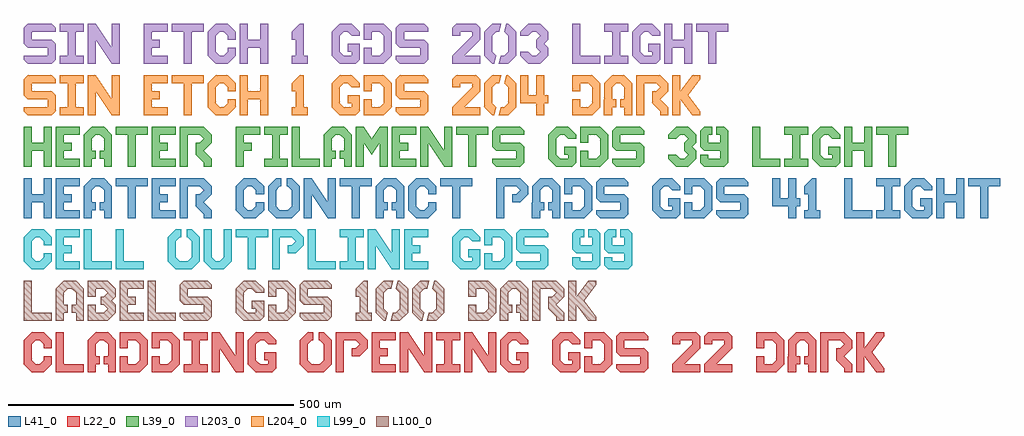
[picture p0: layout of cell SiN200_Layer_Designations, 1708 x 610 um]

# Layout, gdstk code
import gdstk
lib = gdstk.Library(unit=1e-6, precision=1e-09)
def P(c, l, *ps):  # polygons
    for p in ps: c.add(gdstk.Polygon(p, *l))
L22_0 = (22, 0)
L39_0 = (39, 0)
L41_0 = (41, 0)
L99_0 = (99, 0)
L100_0 = (100, 0)
L203_0 = (203, 0)
L204_0 = (204, 0)

sin200_layer_designation = lib.new_cell('SiN200_Layer_Designations')
P(sin200_layer_designation, L22_0, [(14,0),(0,14),(0,56),(14,70),(35,70),(49,56),(49,42),(35,42),(35,49),(28,56),(21,56),(14,49),(14,21),(21,14),(28,14),(35,21),(35,28),(49,28),(49,14),(35,0)],
  [(56,0),(56,70),(70,70),(70,14),(105,14),(105,0)],
  [(111.93,0),(112,56),(126,70),(147.07,70),(161,56),(161,0),(147.07,0),(147.07,14),(140,14),(140,28),(147.07,28),(147.07,49),(140,56),(133,56),(126,49),(126,28),(133,28),(133,14),(126,14),(126,0)],
  [(168,0),(168,28),(182,28),(182,14),(196,14),(203,21),(203,49),(196,56),(182,56),(182,42),(168,42),(168,70),(203,70),(217,56),(217,14),(203,0)],
  [(224,0),(224,28),(238,28),(238,14),(252,14),(259,21),(259,49),(252,56),(238,56),(238,42),(224,42),(224,70),(259,70),(273,56),(273,14),(259,0)],
  [(280,0),(280,14),(294,14),(294,56),(280,56),(280,70),(322,70),(322,56),(308,56),(308,14),(322,14),(322,0)],
  [(329,0),(329,70),(343,70),(371,28),(371,70),(385,70),(385,0),(371,0),(343,42),(343,0)],
  [(406,0),(392,14),(392,56),(406,70),(427,70),(441,56),(441,49),(427,49),(420,56),(413,56),(406,49),(406,21),(413,14),(427,14),(427,21),(420,21),(420,35),(441,35),(441,7),(434,0)],
  [(497,0),(483,14),(483,56),(497,70),(506.1,70),(506.1,56),(504,56),(497,49),(497,21),(504,14),(518,14),(525,21),(525,49),(518,56),(515.9,56),(515.9,70),(525,70),(539,56),(539,14),(525,0)],
  [(546,0),(546,70),(588,70),(602,56),(602,42),(588,28),(574,28),(574,42),(581,42),(588,49),(581,56),(560,56),(560,0)],
  [(609,0),(609,70),(651,70),(651,56),(623,56),(623,42),(637,42),(637,28),(623,28),(623,14),(651,14),(651,0)],
  [(658,0),(658,70),(672,70),(700,28),(700,70),(714,70),(714,0),(700,0),(672,42),(672,0)],
  [(721,0),(721,14),(735,14),(735,56),(721,56),(721,70),(763,70),(763,56),(749,56),(749,14),(763,14),(763,0)],
  [(770,0),(770,70),(784,70),(812,28),(812,70),(826,70),(826,0),(812,0),(784,42),(784,0)],
  [(847,0),(833,14),(833,56),(847,70),(868,70),(882,56),(882,49),(868,49),(861,56),(854,56),(847,49),(847,21),(854,14),(868,14),(868,21),(861,21),(861,35),(882,35),(882,7),(875,0)],
  [(938,0),(924,14),(924,56),(938,70),(959,70),(973,56),(973,49),(959,49),(952,56),(945,56),(938,49),(938,21),(945,14),(959,14),(959,21),(952,21),(952,35),(973,35),(973,7),(966,0)],
  [(980,0),(980,28),(994,28),(994,14),(1008,14),(1015,21),(1015,49),(1008,56),(994,56),(994,42),(980,42),(980,70),(1015,70),(1029,56),(1029,14),(1015,0)],
  [(1043,0),(1036,7),(1036,14),(1078,14),(1078,28),(1043,28),(1036,35),(1036,63),(1043,70),(1085,70),(1092,63),(1092,56),(1050,56),(1050,42),(1085,42),(1092,35),(1092,7),(1085,0)],
  [(1134,0),(1134,14),(1169,49),(1169,56),(1148,56),(1148,49),(1134,49),(1134,63),(1141,70),(1176,70),(1183,63),(1183,42),(1155,14),(1183,14),(1183,0)],
  [(1190,0),(1190,14),(1225,49),(1225,56),(1204,56),(1204,49),(1190,49),(1190,63),(1197,70),(1232,70),(1239,63),(1239,42),(1211,14),(1239,14),(1239,0)],
  [(1281,0),(1281,28),(1295,28),(1295,14),(1309,14),(1316,21),(1316,49),(1309,56),(1295,56),(1295,42),(1281,42),(1281,70),(1316,70),(1330,56),(1330,14),(1316,0)],
  [(1336.93,0),(1337,56),(1351,70),(1372.07,70),(1386,56),(1386,0),(1372.07,0),(1372.07,14),(1365,14),(1365,28),(1372.07,28),(1372.07,49),(1365,56),(1358,56),(1351,49),(1351,28),(1358,28),(1358,14),(1351,14),(1351,0)],
  [(1393,0),(1393,70),(1435,70),(1449,56),(1449,42),(1435,28),(1449,14),(1449,0),(1435,0),(1435,7),(1421,21),(1421,42),(1428,42),(1435,49),(1428,56),(1407,56),(1407,0)],
  [(1456,0),(1456,70),(1470,70),(1470,42),(1491,70),(1505,70),(1505,63),(1484,35),(1505,7),(1505,0),(1491,0),(1470,28),(1470,0)])
P(sin200_layer_designation, L39_0, [(0,360),(0,430),(14,430),(14,402),(35,402),(35,430),(49,430),(49,360),(35,360),(35,388),(14,388),(14,360)],
  [(56,360),(56,430),(98,430),(98,416),(70,416),(70,402),(84,402),(84,388),(70,388),(70,374),(98,374),(98,360)],
  [(104.93,360),(105,416),(119,430),(140.07,430),(154,416),(154,360),(140.07,360),(140.07,374),(133,374),(133,388),(140.07,388),(140.07,409),(133,416),(126,416),(119,409),(119,388),(126,388),(126,374),(119,374),(119,360)],
  [(182,360),(182,416),(161,416),(161,430),(217,430),(217,416),(196,416),(196,360)],
  [(224,360),(224,430),(266,430),(266,416),(238,416),(238,402),(252,402),(252,388),(238,388),(238,374),(266,374),(266,360)],
  [(273,360),(273,430),(315,430),(329,416),(329,402),(315,388),(329,374),(329,360),(315,360),(315,367),(301,381),(301,402),(308,402),(315,409),(308,416),(287,416),(287,360)],
  [(371,360),(371,430),(413,430),(413,416),(385,416),(385,402),(399,402),(399,388),(385,388),(385,360)],
  [(420,360),(420,374),(434,374),(434,416),(420,416),(420,430),(462,430),(462,416),(448,416),(448,374),(462,374),(462,360)],
  [(469,360),(469,430),(483,430),(483,374),(518,374),(518,360)],
  [(524.93,360),(525,416),(539,430),(560.07,430),(574,416),(574,360),(560.07,360),(560.07,374),(553,374),(553,388),(560.07,388),(560.07,409),(553,416),(546,416),(539,409),(539,388),(546,388),(546,374),(539,374),(539,360)],
  [(581,360),(581,430),(595,430),(609,409),(623,430),(637,430),(637,360),(623,360),(623,402),(609,381),(595,402),(595,360)],
  [(644,360),(644,430),(686,430),(686,416),(658,416),(658,402),(672,402),(672,388),(658,388),(658,374),(686,374),(686,360)],
  [(693,360),(693,430),(707,430),(735,388),(735,430),(749,430),(749,360),(735,360),(707,402),(707,360)],
  [(777,360),(777,416),(756,416),(756,430),(812,430),(812,416),(791,416),(791,360)],
  [(826,360),(819,367),(819,374),(861,374),(861,388),(826,388),(819,395),(819,423),(826,430),(868,430),(875,423),(875,416),(833,416),(833,402),(868,402),(875,395),(875,367),(868,360)],
  [(931,360),(917,374),(917,416),(931,430),(952,430),(966,416),(966,409),(952,409),(945,416),(938,416),(931,409),(931,381),(938,374),(952,374),(952,381),(945,381),(945,395),(966,395),(966,367),(959,360)],
  [(973,360),(973,388),(987,388),(987,374),(1001,374),(1008,381),(1008,409),(1001,416),(987,416),(987,402),(973,402),(973,430),(1008,430),(1022,416),(1022,374),(1008,360)],
  [(1036,360),(1029,367),(1029,374),(1071,374),(1071,388),(1036,388),(1029,395),(1029,423),(1036,430),(1078,430),(1085,423),(1085,416),(1043,416),(1043,402),(1078,402),(1085,395),(1085,367),(1078,360)],
  [(1141,360),(1127,374),(1127,381),(1141,381),(1148,374),(1155,374),(1162,381),(1155,388),(1155,402),(1162,409),(1155,416),(1148,416),(1141,409),(1127,409),(1127,416),(1141,430),(1162,430),(1176,416),(1176,402),(1169,395),(1176,388),(1176,374),(1162,360)],
  [(1190,360),(1183,367),(1183,381),(1197,381),(1197,374),(1218,374),(1218,388),(1190,388),(1183,395),(1183,423),(1190,430),(1204,430),(1204,416),(1197,416),(1197,402),(1218,402),(1218,416),(1211,416),(1211,430),(1225,430),(1232,423),(1232,367),(1225,360)],
  [(1274,360),(1274,430),(1288,430),(1288,374),(1323,374),(1323,360)],
  [(1330,360),(1330,374),(1344,374),(1344,416),(1330,416),(1330,430),(1372,430),(1372,416),(1358,416),(1358,374),(1372,374),(1372,360)],
  [(1393,360),(1379,374),(1379,416),(1393,430),(1414,430),(1428,416),(1428,409),(1414,409),(1407,416),(1400,416),(1393,409),(1393,381),(1400,374),(1414,374),(1414,381),(1407,381),(1407,395),(1428,395),(1428,367),(1421,360)],
  [(1435,360),(1435,430),(1449,430),(1449,402),(1470,402),(1470,430),(1484,430),(1484,360),(1470,360),(1470,388),(1449,388),(1449,360)],
  [(1512,360),(1512,416),(1491,416),(1491,430),(1547,430),(1547,416),(1526,416),(1526,360)])
P(sin200_layer_designation, L41_0, [(0,270),(0,340),(14,340),(14,312),(35,312),(35,340),(49,340),(49,270),(35,270),(35,298),(14,298),(14,270)],
  [(56,270),(56,340),(98,340),(98,326),(70,326),(70,312),(84,312),(84,298),(70,298),(70,284),(98,284),(98,270)],
  [(104.93,270),(105,326),(119,340),(140.07,340),(154,326),(154,270),(140.07,270),(140.07,284),(133,284),(133,298),(140.07,298),(140.07,319),(133,326),(126,326),(119,319),(119,298),(126,298),(126,284),(119,284),(119,270)],
  [(182,270),(182,326),(161,326),(161,340),(217,340),(217,326),(196,326),(196,270)],
  [(224,270),(224,340),(266,340),(266,326),(238,326),(238,312),(252,312),(252,298),(238,298),(238,284),(266,284),(266,270)],
  [(273,270),(273,340),(315,340),(329,326),(329,312),(315,298),(329,284),(329,270),(315,270),(315,277),(301,291),(301,312),(308,312),(315,319),(308,326),(287,326),(287,270)],
  [(385,270),(371,284),(371,326),(385,340),(406,340),(420,326),(420,312),(406,312),(406,319),(399,326),(392,326),(385,319),(385,291),(392,284),(399,284),(406,291),(406,298),(420,298),(420,284),(406,270)],
  [(441,270),(427,284),(427,326),(441,340),(450.1,340),(450.1,326),(448,326),(441,319),(441,291),(448,284),(462,284),(469,291),(469,319),(462,326),(459.9,326),(459.9,340),(469,340),(483,326),(483,284),(469,270)],
  [(490,270),(490,340),(504,340),(532,298),(532,340),(546,340),(546,270),(532,270),(504,312),(504,270)],
  [(574,270),(574,326),(553,326),(553,340),(609,340),(609,326),(588,326),(588,270)],
  [(615.93,270),(616,326),(630,340),(651.07,340),(665,326),(665,270),(651.07,270),(651.07,284),(644,284),(644,298),(651.07,298),(651.07,319),(644,326),(637,326),(630,319),(630,298),(637,298),(637,284),(630,284),(630,270)],
  [(686,270),(672,284),(672,326),(686,340),(707,340),(721,326),(721,312),(707,312),(707,319),(700,326),(693,326),(686,319),(686,291),(693,284),(700,284),(707,291),(707,298),(721,298),(721,284),(707,270)],
  [(749,270),(749,326),(728,326),(728,340),(784,340),(784,326),(763,326),(763,270)],
  [(826,270),(826,340),(868,340),(882,326),(882,312),(868,298),(854,298),(854,312),(861,312),(868,319),(861,326),(840,326),(840,270)],
  [(888.93,270),(889,326),(903,340),(924.07,340),(938,326),(938,270),(924.07,270),(924.07,284),(917,284),(917,298),(924.07,298),(924.07,319),(917,326),(910,326),(903,319),(903,298),(910,298),(910,284),(903,284),(903,270)],
  [(945,270),(945,298),(959,298),(959,284),(973,284),(980,291),(980,319),(973,326),(959,326),(959,312),(945,312),(945,340),(980,340),(994,326),(994,284),(980,270)],
  [(1008,270),(1001,277),(1001,284),(1043,284),(1043,298),(1008,298),(1001,305),(1001,333),(1008,340),(1050,340),(1057,333),(1057,326),(1015,326),(1015,312),(1050,312),(1057,305),(1057,277),(1050,270)],
  [(1113,270),(1099,284),(1099,326),(1113,340),(1134,340),(1148,326),(1148,319),(1134,319),(1127,326),(1120,326),(1113,319),(1113,291),(1120,284),(1134,284),(1134,291),(1127,291),(1127,305),(1148,305),(1148,277),(1141,270)],
  [(1155,270),(1155,298),(1169,298),(1169,284),(1183,284),(1190,291),(1190,319),(1183,326),(1169,326),(1169,312),(1155,312),(1155,340),(1190,340),(1204,326),(1204,284),(1190,270)],
  [(1218,270),(1211,277),(1211,284),(1253,284),(1253,298),(1218,298),(1211,305),(1211,333),(1218,340),(1260,340),(1267,333),(1267,326),(1225,326),(1225,312),(1260,312),(1267,305),(1267,277),(1260,270)],
  [(1337,270),(1337,291),(1309,291),(1309,340),(1323,340),(1323,305),(1337,305),(1337,340),(1351,340),(1351,305),(1358,305),(1358,291),(1351,291),(1351,270)],
  [(1365,270),(1365,284),(1372,284),(1372,312),(1365,312),(1365,326),(1379,340),(1386,340),(1386,284),(1393,284),(1393,270)],
  [(1435,270),(1435,340),(1449,340),(1449,284),(1484,284),(1484,270)],
  [(1491,270),(1491,284),(1505,284),(1505,326),(1491,326),(1491,340),(1533,340),(1533,326),(1519,326),(1519,284),(1533,284),(1533,270)],
  [(1554,270),(1540,284),(1540,326),(1554,340),(1575,340),(1589,326),(1589,319),(1575,319),(1568,326),(1561,326),(1554,319),(1554,291),(1561,284),(1575,284),(1575,291),(1568,291),(1568,305),(1589,305),(1589,277),(1582,270)],
  [(1596,270),(1596,340),(1610,340),(1610,312),(1631,312),(1631,340),(1645,340),(1645,270),(1631,270),(1631,298),(1610,298),(1610,270)],
  [(1673,270),(1673,326),(1652,326),(1652,340),(1708,340),(1708,326),(1687,326),(1687,270)])
P(sin200_layer_designation, L99_0, [(14,180),(0,194),(0,236),(14,250),(35,250),(49,236),(49,222),(35,222),(35,229),(28,236),(21,236),(14,229),(14,201),(21,194),(28,194),(35,201),(35,208),(49,208),(49,194),(35,180)],
  [(56,180),(56,250),(98,250),(98,236),(70,236),(70,222),(84,222),(84,208),(70,208),(70,194),(98,194),(98,180)],
  [(105,180),(105,250),(119,250),(119,194),(154,194),(154,180)],
  [(161,180),(161,250),(175,250),(175,194),(210,194),(210,180)],
  [(266,180),(252,194),(252,236),(266,250),(275.1,250),(275.1,236),(273,236),(266,229),(266,201),(273,194),(287,194),(294,201),(294,229),(287,236),(284.9,236),(284.9,250),(294,250),(308,236),(308,194),(294,180)],
  [(329,180),(315,194),(315,250),(329,250),(329,201),(336,194),(343,194),(350,201),(350,250),(364,250),(364,194),(350,180)],
  [(392,180),(392,236),(371,236),(371,250),(427,250),(427,236),(406,236),(406,180)],
  [(434,180),(434,250),(476,250),(490,236),(490,222),(476,208),(462,208),(462,222),(469,222),(476,229),(469,236),(448,236),(448,180)],
  [(497,180),(497,250),(511,250),(511,194),(546,194),(546,180)],
  [(553,180),(553,194),(567,194),(567,236),(553,236),(553,250),(595,250),(595,236),(581,236),(581,194),(595,194),(595,180)],
  [(602,180),(602,250),(616,250),(644,208),(644,250),(658,250),(658,180),(644,180),(616,222),(616,180)],
  [(665,180),(665,250),(707,250),(707,236),(679,236),(679,222),(693,222),(693,208),(679,208),(679,194),(707,194),(707,180)],
  [(763,180),(749,194),(749,236),(763,250),(784,250),(798,236),(798,229),(784,229),(777,236),(770,236),(763,229),(763,201),(770,194),(784,194),(784,201),(777,201),(777,215),(798,215),(798,187),(791,180)],
  [(805,180),(805,208),(819,208),(819,194),(833,194),(840,201),(840,229),(833,236),(819,236),(819,222),(805,222),(805,250),(840,250),(854,236),(854,194),(840,180)],
  [(868,180),(861,187),(861,194),(903,194),(903,208),(868,208),(861,215),(861,243),(868,250),(910,250),(917,243),(917,236),(875,236),(875,222),(910,222),(917,215),(917,187),(910,180)],
  [(966,180),(959,187),(959,201),(973,201),(973,194),(994,194),(994,208),(966,208),(959,215),(959,243),(966,250),(980,250),(980,236),(973,236),(973,222),(994,222),(994,236),(987,236),(987,250),(1001,250),(1008,243),(1008,187),(1001,180)],
  [(1022,180),(1015,187),(1015,201),(1029,201),(1029,194),(1050,194),(1050,208),(1022,208),(1015,215),(1015,243),(1022,250),(1036,250),(1036,236),(1029,236),(1029,222),(1050,222),(1050,236),(1043,236),(1043,250),(1057,250),(1064,243),(1064,187),(1057,180)])
P(sin200_layer_designation, L100_0, [(0,90),(0,160),(14,160),(14,104),(49,104),(49,90)],
  [(55.93,90),(56,146),(70,160),(91.07,160),(105,146),(105,90),(91.07,90),(91.07,104),(84,104),(84,118),(91.07,118),(91.07,139),(84,146),(77,146),(70,139),(70,118),(77,118),(77,104),(70,104),(70,90)],
  [(112,90),(112,118),(126,118),(126,104),(140,104),(147,111),(140,118),(134.4,118),(134.4,132),(140,132),(147,139),(140,146),(126,146),(126,132),(112,132),(112,160),(147,160),(161,146),(161,132),(154,125),(161,118),(161,104),(147,90)],
  [(168,90),(168,160),(210,160),(210,146),(182,146),(182,132),(196,132),(196,118),(182,118),(182,104),(210,104),(210,90)],
  [(217,90),(217,160),(231,160),(231,104),(266,104),(266,90)],
  [(280,90),(273,97),(273,104),(315,104),(315,118),(280,118),(273,125),(273,153),(280,160),(322,160),(329,153),(329,146),(287,146),(287,132),(322,132),(329,125),(329,97),(322,90)],
  [(385,90),(371,104),(371,146),(385,160),(406,160),(420,146),(420,139),(406,139),(399,146),(392,146),(385,139),(385,111),(392,104),(406,104),(406,111),(399,111),(399,125),(420,125),(420,97),(413,90)],
  [(427,90),(427,118),(441,118),(441,104),(455,104),(462,111),(462,139),(455,146),(441,146),(441,132),(427,132),(427,160),(462,160),(476,146),(476,104),(462,90)],
  [(490,90),(483,97),(483,104),(525,104),(525,118),(490,118),(483,125),(483,153),(490,160),(532,160),(539,153),(539,146),(497,146),(497,132),(532,132),(539,125),(539,97),(532,90)],
  [(581,90),(581,104),(588,104),(588,132),(581,132),(581,146),(595,160),(602,160),(602,104),(609,104),(609,90)],
  [(630,90),(616,104),(616,146),(630,160),(646.1,160),(642.6,146),(637,146),(630,139),(630,111),(637,104),(633.5,90)],
  [(641.9,90),(645.4,104),(651,104),(658,111),(658,139),(651,146),(654.5,160),(658,160),(672,146),(672,104),(658,90)],
  [(693,90),(679,104),(679,146),(693,160),(709.1,160),(705.6,146),(700,146),(693,139),(693,111),(700,104),(696.5,90)],
  [(704.9,90),(708.4,104),(714,104),(721,111),(721,139),(714,146),(717.5,160),(721,160),(735,146),(735,104),(721,90)],
  [(777,90),(777,118),(791,118),(791,104),(805,104),(812,111),(812,139),(805,146),(791,146),(791,132),(777,132),(777,160),(812,160),(826,146),(826,104),(812,90)],
  [(832.93,90),(833,146),(847,160),(868.07,160),(882,146),(882,90),(868.07,90),(868.07,104),(861,104),(861,118),(868.07,118),(868.07,139),(861,146),(854,146),(847,139),(847,118),(854,118),(854,104),(847,104),(847,90)],
  [(889,90),(889,160),(931,160),(945,146),(945,132),(931,118),(945,104),(945,90),(931,90),(931,97),(917,111),(917,132),(924,132),(931,139),(924,146),(903,146),(903,90)],
  [(952,90),(952,160),(966,160),(966,132),(987,160),(1001,160),(1001,153),(980,125),(1001,97),(1001,90),(987,90),(966,118),(966,90)])
P(sin200_layer_designation, L203_0, [(7,540),(0,547),(0,554),(42,554),(42,568),(7,568),(0,575),(0,603),(7,610),(49,610),(56,603),(56,596),(14,596),(14,582),(49,582),(56,575),(56,547),(49,540)],
  [(63,540),(63,554),(77,554),(77,596),(63,596),(63,610),(105,610),(105,596),(91,596),(91,554),(105,554),(105,540)],
  [(112,540),(112,610),(126,610),(154,568),(154,610),(168,610),(168,540),(154,540),(126,582),(126,540)],
  [(210,540),(210,610),(252,610),(252,596),(224,596),(224,582),(238,582),(238,568),(224,568),(224,554),(252,554),(252,540)],
  [(280,540),(280,596),(259,596),(259,610),(315,610),(315,596),(294,596),(294,540)],
  [(336,540),(322,554),(322,596),(336,610),(357,610),(371,596),(371,582),(357,582),(357,589),(350,596),(343,596),(336,589),(336,561),(343,554),(350,554),(357,561),(357,568),(371,568),(371,554),(357,540)],
  [(378,540),(378,610),(392,610),(392,582),(413,582),(413,610),(427,610),(427,540),(413,540),(413,568),(392,568),(392,540)],
  [(469,540),(469,554),(476,554),(476,582),(469,582),(469,596),(483,610),(490,610),(490,554),(497,554),(497,540)],
  [(553,540),(539,554),(539,596),(553,610),(574,610),(588,596),(588,589),(574,589),(567,596),(560,596),(553,589),(553,561),(560,554),(574,554),(574,561),(567,561),(567,575),(588,575),(588,547),(581,540)],
  [(595,540),(595,568),(609,568),(609,554),(623,554),(630,561),(630,589),(623,596),(609,596),(609,582),(595,582),(595,610),(630,610),(644,596),(644,554),(630,540)],
  [(658,540),(651,547),(651,554),(693,554),(693,568),(658,568),(651,575),(651,603),(658,610),(700,610),(707,603),(707,596),(665,596),(665,582),(700,582),(707,575),(707,547),(700,540)],
  [(749,540),(749,554),(784,589),(784,596),(763,596),(763,589),(749,589),(749,603),(756,610),(791,610),(798,603),(798,582),(770,554),(798,554),(798,540)],
  [(819,540),(805,554),(805,596),(819,610),(835.1,610),(831.6,596),(826,596),(819,589),(819,561),(826,554),(822.5,540)],
  [(830.9,540),(834.4,554),(840,554),(847,561),(847,589),(840,596),(843.5,610),(847,610),(861,596),(861,554),(847,540)],
  [(882,540),(868,554),(868,561),(882,561),(889,554),(896,554),(903,561),(896,568),(896,582),(903,589),(896,596),(889,596),(882,589),(868,589),(868,596),(882,610),(903,610),(917,596),(917,582),(910,575),(917,568),(917,554),(903,540)],
  [(959,540),(959,610),(973,610),(973,554),(1008,554),(1008,540)],
  [(1015,540),(1015,554),(1029,554),(1029,596),(1015,596),(1015,610),(1057,610),(1057,596),(1043,596),(1043,554),(1057,554),(1057,540)],
  [(1078,540),(1064,554),(1064,596),(1078,610),(1099,610),(1113,596),(1113,589),(1099,589),(1092,596),(1085,596),(1078,589),(1078,561),(1085,554),(1099,554),(1099,561),(1092,561),(1092,575),(1113,575),(1113,547),(1106,540)],
  [(1120,540),(1120,610),(1134,610),(1134,582),(1155,582),(1155,610),(1169,610),(1169,540),(1155,540),(1155,568),(1134,568),(1134,540)],
  [(1197,540),(1197,596),(1176,596),(1176,610),(1232,610),(1232,596),(1211,596),(1211,540)])
P(sin200_layer_designation, L204_0, [(7,450),(0,457),(0,464),(42,464),(42,478),(7,478),(0,485),(0,513),(7,520),(49,520),(56,513),(56,506),(14,506),(14,492),(49,492),(56,485),(56,457),(49,450)],
  [(63,450),(63,464),(77,464),(77,506),(63,506),(63,520),(105,520),(105,506),(91,506),(91,464),(105,464),(105,450)],
  [(112,450),(112,520),(126,520),(154,478),(154,520),(168,520),(168,450),(154,450),(126,492),(126,450)],
  [(210,450),(210,520),(252,520),(252,506),(224,506),(224,492),(238,492),(238,478),(224,478),(224,464),(252,464),(252,450)],
  [(280,450),(280,506),(259,506),(259,520),(315,520),(315,506),(294,506),(294,450)],
  [(336,450),(322,464),(322,506),(336,520),(357,520),(371,506),(371,492),(357,492),(357,499),(350,506),(343,506),(336,499),(336,471),(343,464),(350,464),(357,471),(357,478),(371,478),(371,464),(357,450)],
  [(378,450),(378,520),(392,520),(392,492),(413,492),(413,520),(427,520),(427,450),(413,450),(413,478),(392,478),(392,450)],
  [(469,450),(469,464),(476,464),(476,492),(469,492),(469,506),(483,520),(490,520),(490,464),(497,464),(497,450)],
  [(553,450),(539,464),(539,506),(553,520),(574,520),(588,506),(588,499),(574,499),(567,506),(560,506),(553,499),(553,471),(560,464),(574,464),(574,471),(567,471),(567,485),(588,485),(588,457),(581,450)],
  [(595,450),(595,478),(609,478),(609,464),(623,464),(630,471),(630,499),(623,506),(609,506),(609,492),(595,492),(595,520),(630,520),(644,506),(644,464),(630,450)],
  [(658,450),(651,457),(651,464),(693,464),(693,478),(658,478),(651,485),(651,513),(658,520),(700,520),(707,513),(707,506),(665,506),(665,492),(700,492),(707,485),(707,457),(700,450)],
  [(749,450),(749,464),(784,499),(784,506),(763,506),(763,499),(749,499),(749,513),(756,520),(791,520),(798,513),(798,492),(770,464),(798,464),(798,450)],
  [(819,450),(805,464),(805,506),(819,520),(835.1,520),(831.6,506),(826,506),(819,499),(819,471),(826,464),(822.5,450)],
  [(830.9,450),(834.4,464),(840,464),(847,471),(847,499),(840,506),(843.5,520),(847,520),(861,506),(861,464),(847,450)],
  [(896,450),(896,471),(868,471),(868,520),(882,520),(882,485),(896,485),(896,520),(910,520),(910,485),(917,485),(917,471),(910,471),(910,450)],
  [(959,450),(959,478),(973,478),(973,464),(987,464),(994,471),(994,499),(987,506),(973,506),(973,492),(959,492),(959,520),(994,520),(1008,506),(1008,464),(994,450)],
  [(1014.93,450),(1015,506),(1029,520),(1050.07,520),(1064,506),(1064,450),(1050.07,450),(1050.07,464),(1043,464),(1043,478),(1050.07,478),(1050.07,499),(1043,506),(1036,506),(1029,499),(1029,478),(1036,478),(1036,464),(1029,464),(1029,450)],
  [(1071,450),(1071,520),(1113,520),(1127,506),(1127,492),(1113,478),(1127,464),(1127,450),(1113,450),(1113,457),(1099,471),(1099,492),(1106,492),(1113,499),(1106,506),(1085,506),(1085,450)],
  [(1134,450),(1134,520),(1148,520),(1148,492),(1169,520),(1183,520),(1183,513),(1162,485),(1183,457),(1183,450),(1169,450),(1148,478),(1148,450)])

lib.write_gds('SiN200_Layer_Designations.gds')
